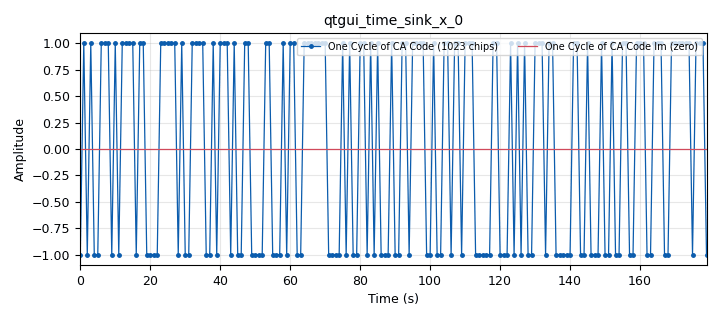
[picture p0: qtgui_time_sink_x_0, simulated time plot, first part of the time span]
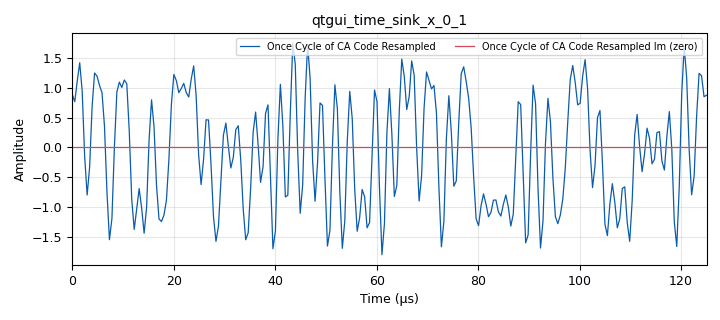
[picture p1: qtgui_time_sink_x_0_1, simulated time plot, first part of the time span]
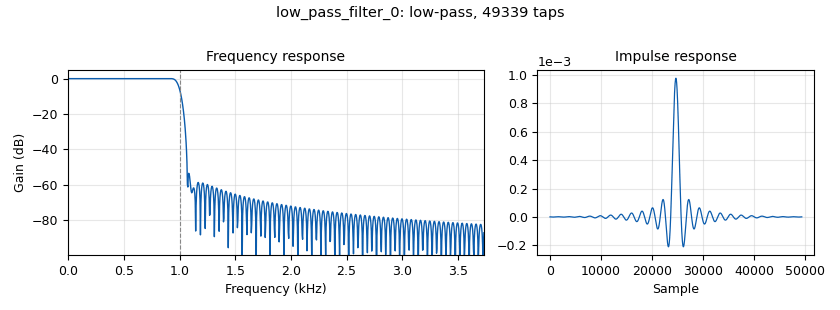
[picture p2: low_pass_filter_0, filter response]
options:
  parameters:
    author: jason
    generate_options: qt_gui
    generator_class_name: PythonQtGuiGenerator
    generator_module: gnuradio.grc.workflows.python_qt_gui
    id: lesson23_GPS_RTL_SDR_from_known_cacodes
    output_language: python
    title: GPS_RTL_SDR
  states: {}

blocks:
- name: GPS_ID
  id: variable
  parameters:
    value: '32'
  states: {}
- name: Ncycles
  id: variable
  parameters:
    value: '4'
  states: {}
- name: chip_rate
  id: variable
  parameters:
    comment: 'GPS C/A code: 1023 chips per millisecond'
    value: 1.023e6
  states: {}
- name: doppler_shift
  id: variable_qtgui_range
  parameters:
    comment: |-
      Satellite Doppler at L1 is up to about +/-5 kHz for a receiver on the ground,
      and the RTL-SDR clock adds 1.575 kHz per ppm of error (set Frequency Correction
      if you know your dongle's ppm). With Ncycles ms of coherent integration the
      correlation peak is only 1/Ncycles kHz wide, so step through this slowly.
    start: '-10e3'
    step: '50'
    stop: 10e3
    value: '0'
  states: {}
- name: rf_gain
  id: variable_qtgui_range
  parameters:
    start: '0'
    step: '1'
    stop: '80'
    value: '50'
  states: {}
- name: samp_rate
  id: variable
  parameters:
    value: 2.048e6
  states: {}
- name: vector_size
  id: variable
  parameters:
    value: int(Ncycles*samp_rate/1000)
  states: {}
- name: GPScacodes
  id: epy_module
  parameters:
    comment: |-
      C/A codes computed here instead of
      being read from GPScacodes.py
    source_code: |
      # GPS C/A (Gold) codes, generated from the two 10-stage LFSRs (see Lessons 21-22).
      # cacodes[prn] is a list of 1023 chips, +1/-1, for PRN 1..32 (the same convention as the
      # old GPScacodes.py file: shift-register bit 1 -> +1, bit 0 -> -1).
      TAPS = {1: (2, 6), 2: (3, 7), 3: (4, 8), 4: (5, 9), 5: (1, 9), 6: (2, 10), 7: (1, 8), 8: (2, 9),
              9: (3, 10), 10: (2, 3), 11: (3, 4), 12: (5, 6), 13: (6, 7), 14: (7, 8), 15: (8, 9), 16: (9, 10),
              17: (1, 4), 18: (2, 5), 19: (3, 6), 20: (4, 7), 21: (5, 8), 22: (6, 9), 23: (1, 3), 24: (4, 6),
              25: (5, 7), 26: (6, 8), 27: (7, 9), 28: (8, 10), 29: (1, 6), 30: (2, 7), 31: (3, 8), 32: (4, 9)}

      def cacode(prn):
          g1 = [1] * 10
          g2 = [1] * 10
          t1, t2 = TAPS[prn]
          chips = []
          for _ in range(1023):
              bit = g1[9] ^ g2[t1 - 1] ^ g2[t2 - 1]
              chips.append(2 * bit - 1)
              f1 = g1[2] ^ g1[9]                                   # G1 taps 3, 10
              f2 = g2[1] ^ g2[2] ^ g2[5] ^ g2[7] ^ g2[8] ^ g2[9]   # G2 taps 2, 3, 6, 8, 9, 10
              g1 = [f1] + g1[:9]
              g2 = [f2] + g2[:9]
          return chips

      cacodes = [None] + [cacode(prn) for prn in range(1, 33)]
  states: {}
- name: analog_sig_source_x_0
  id: analog_sig_source_x
  parameters:
    amp: '1'
    freq: doppler_shift
    offset: '0'
    phase: '0'
    samp_rate: samp_rate
    type: complex
    waveform: analog.GR_COS_WAVE
  states: {}
- name: blocks_complex_to_mag_0
  id: blocks_complex_to_mag
  parameters: {}
  states: {}
- name: blocks_multiply_conjugate_cc_0
  id: blocks_multiply_conjugate_cc
  parameters:
    vlen: vector_size
  states: {}
- name: blocks_multiply_const_vxx_0
  id: blocks_multiply_const_vxx
  parameters:
    const: '[1/vector_size]*vector_size'
    type: complex
    vlen: vector_size
  states: {}
- name: blocks_multiply_xx_0
  id: blocks_multiply_xx
  parameters:
    type: complex
  states: {}
- name: blocks_multiply_xx_0_0
  id: blocks_multiply_xx
  parameters:
    type: complex
  states: {}
- name: blocks_stream_to_vector_0_0
  id: blocks_stream_to_vector
  parameters:
    num_items: vector_size
    type: complex
  states: {}
- name: blocks_stream_to_vector_0_0_0
  id: blocks_stream_to_vector
  parameters:
    num_items: vector_size
    type: complex
  states: {}
- name: blocks_vector_source_x_0
  id: blocks_vector_source_x
  parameters:
    repeat: 'True'
    type: complex
    vector: GPScacodes.cacodes[GPS_ID]
  states: {}
- name: blocks_vector_to_stream_0
  id: blocks_vector_to_stream
  parameters:
    num_items: vector_size
    type: complex
  states: {}
- name: fft_vxx_0
  id: fft_vxx
  parameters:
    comment: |-
      In a real system, this one can be 
      pre-computed for each satellite
    fft_size: vector_size
    forward: 'True'
    shift: 'False'
    type: complex
    window: window.rectangular(vector_size)
  states: {}
- name: fft_vxx_0_0
  id: fft_vxx
  parameters:
    fft_size: vector_size
    forward: 'True'
    shift: 'False'
    type: complex
    window: window.rectangular(vector_size)
  states: {}
- name: fft_vxx_1
  id: fft_vxx
  parameters:
    fft_size: vector_size
    forward: 'False'
    shift: 'False'
    type: complex
    window: window.rectangular(vector_size)
  states: {}
- name: low_pass_filter_0
  id: low_pass_filter
  parameters:
    cutoff_freq: '1000'
    decim: int(samp_rate/1000)
    gain: '1'
    samp_rate: samp_rate
    type: fir_filter_ccf
    width: '100'
    win: window.WIN_HAMMING
  states: {}
- name: qtgui_freq_sink_x_0
  id: qtgui_freq_sink_x
  parameters:
    bw: samp_rate
    fc: '0'
    fftsize: '2048'
    label1: Once Cycle of CA Code Resampled
    label2: RTL-SDR raw
    nconnections: '2'
    type: complex
  states: {}
- name: qtgui_time_sink_x_0
  id: qtgui_time_sink_x
  parameters:
    autoscale: 'True'
    label1: One Cycle of CA Code (1023 chips)
    label2: One Cycle of CA Code Im (zero)
    marker1: '0'
    size: '1023'
    srate: '1'
    type: complex
  states: {}
- name: qtgui_time_sink_x_0_1
  id: qtgui_time_sink_x
  parameters:
    autoscale: 'True'
    label1: Once Cycle of CA Code Resampled
    label2: Once Cycle of CA Code Resampled Im (zero)
    size: int(samp_rate/1000)
    srate: samp_rate
    type: complex
  states: {}
- name: qtgui_time_sink_x_0_1_0
  id: qtgui_time_sink_x
  parameters:
    autoscale: 'True'
    label1: RTL-SDR raw Re
    label2: RTL-SDR raw Im
    size: int(samp_rate/1000)
    srate: samp_rate
    type: complex
  states: {}
- name: qtgui_time_sink_x_0_2
  id: qtgui_time_sink_x
  parameters:
    autoscale: 'True'
    label1: Correlation Re
    label2: Correlation Im
    size: vector_size
    srate: samp_rate
    type: complex
    ymax: vector_size*1.2
    ymin: '-vector_size*0.2'
  states: {state: disabled}
- name: qtgui_time_sink_x_0_2_0
  id: qtgui_time_sink_x
  parameters:
    label1: Correlation Mag
    size: vector_size
    srate: samp_rate
    type: float
    ymax: 25*Ncycles
    ymin: '0'
  states: {}
- name: qtgui_time_sink_x_1
  id: qtgui_time_sink_x
  parameters:
    label1: Correlate Against Each Cycle Re
    label2: Correlate Against Each Cycle Im
    size: 20*10
    srate: 1e3
    type: complex
  states: {}
- name: rational_resampler_xxx_0
  id: rational_resampler_xxx
  parameters:
    decim: int(chip_rate)
    interp: int(samp_rate)
    type: ccc
  states: {}
- name: rtlsdr_source_0
  id: rtlsdr_source
  parameters:
    args: '"rtl,bias=1"'
    bb_gain0: '20'
    comment: |-
      Add "rtl,bias=1" to 
      Device Arguments arguments 
      to turn on the bias T
      Tune to 1575.42 MHz for GPS L1
    freq0: 1575.42e6
    gain0: rf_gain
    gain_mode0: 'False'
    if_gain0: '20'
    sample_rate: samp_rate
    sync: sync
    type: fc32
  states: {}

connections:
- [analog_sig_source_x_0, '0', blocks_multiply_xx_0, '1']
- [blocks_complex_to_mag_0, '0', qtgui_time_sink_x_0_2_0, '0']
- [blocks_multiply_conjugate_cc_0, '0', fft_vxx_1, '0']
- [blocks_multiply_const_vxx_0, '0', blocks_vector_to_stream_0, '0']
- [blocks_multiply_xx_0, '0', blocks_multiply_xx_0_0, '1']
- [blocks_multiply_xx_0, '0', blocks_stream_to_vector_0_0, '0']
- [blocks_multiply_xx_0_0, '0', low_pass_filter_0, '0']
- [blocks_stream_to_vector_0_0, '0', fft_vxx_0_0, '0']
- [blocks_stream_to_vector_0_0_0, '0', fft_vxx_0, '0']
- [blocks_vector_source_x_0, '0', qtgui_time_sink_x_0, '0']
- [blocks_vector_source_x_0, '0', rational_resampler_xxx_0, '0']
- [blocks_vector_to_stream_0, '0', blocks_complex_to_mag_0, '0']
- [blocks_vector_to_stream_0, '0', qtgui_time_sink_x_0_2, '0']
- [fft_vxx_0, '0', blocks_multiply_conjugate_cc_0, '0']
- [fft_vxx_0_0, '0', blocks_multiply_conjugate_cc_0, '1']
- [fft_vxx_1, '0', blocks_multiply_const_vxx_0, '0']
- [low_pass_filter_0, '0', qtgui_time_sink_x_1, '0']
- [rational_resampler_xxx_0, '0', blocks_multiply_xx_0_0, '0']
- [rational_resampler_xxx_0, '0', blocks_stream_to_vector_0_0_0, '0']
- [rational_resampler_xxx_0, '0', qtgui_freq_sink_x_0, '0']
- [rational_resampler_xxx_0, '0', qtgui_time_sink_x_0_1, '0']
- [rtlsdr_source_0, '0', blocks_multiply_xx_0, '0']
- [rtlsdr_source_0, '0', qtgui_freq_sink_x_0, '1']
- [rtlsdr_source_0, '0', qtgui_time_sink_x_0_1_0, '0']

metadata:
  file_format: 1
  grc_version: 3.10.12.0
